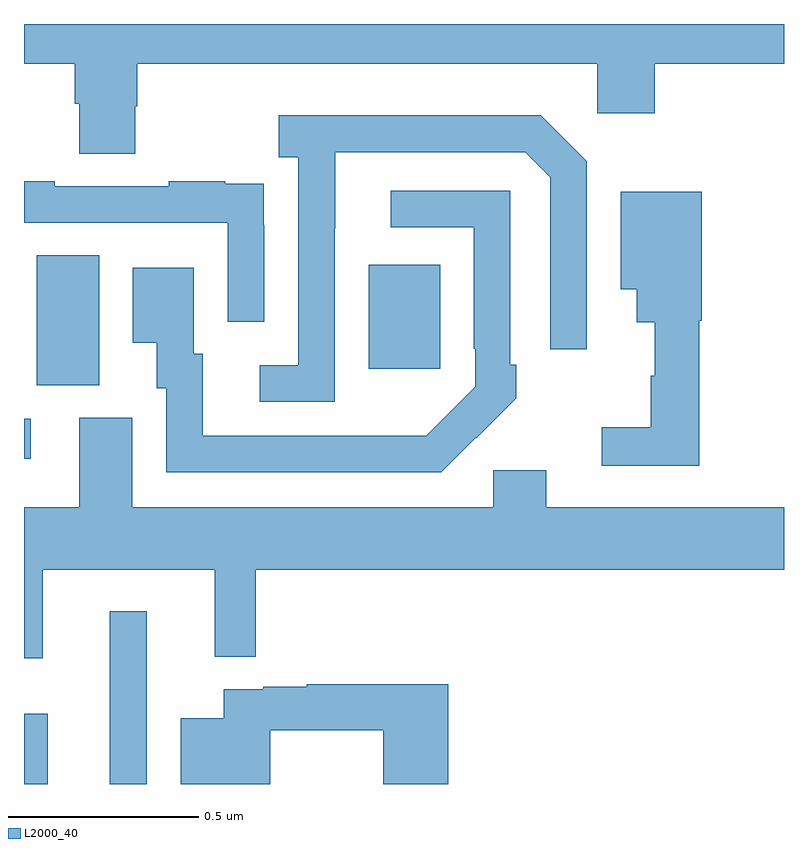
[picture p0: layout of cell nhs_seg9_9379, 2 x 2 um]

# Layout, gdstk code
import gdstk
lib = gdstk.Library(unit=1e-6, precision=1e-09)
def R(c, l, rs):  # rectangles x0, y0, x1, y1
    for r in rs: c.add(gdstk.rectangle(r[:2], r[2:], *l))
def P(c, l, *ps):  # polygons
    for p in ps: c.add(gdstk.Polygon(p, *l))
L2000_40 = (2000, 40)

nhs_seg9_9379 = lib.new_cell('nhs_seg9_9379')
R(nhs_seg9_9379, L2000_40, [(229,1218.5,229.063,1218.685), (229.226,1218.5,229.323,1218.955), (229,1219.356,229.018,1219.461), (229.034,1219.549,229.198,1219.892), (229.907,1219.593,230.095,1219.867)])
P(nhs_seg9_9379, L2000_40, [(229.293,1220.283),(229.298,1220.283),(229.298,1220.396),(230.508,1220.396),(230.508,1220.265),(230.66,1220.265),(230.66,1220.396),(231,1220.396),(231,1220.5),(229,1220.5),(229,1220.396),(229.133,1220.396),(229.133,1220.29),(229.145,1220.29),(229.145,1220.158),(229.293,1220.158)],
  [(229.818,1219.963),(229.819,1219.963),(229.819,1220.163),(230.319,1220.163),(230.385,1220.097),(230.385,1219.644),(230.481,1219.644),(230.481,1220.139),(230.36,1220.26),(229.671,1220.26),(229.671,1220.15),(229.722,1220.15),(229.722,1219.602),(229.62,1219.602),(229.62,1219.506),(229.818,1219.506)],
  [(229.632,1219.97),(229.631,1219.97),(229.631,1220.079),(229.529,1220.079),(229.529,1220.086),(229.381,1220.086),(229.381,1220.073),(229.081,1220.073),(229.081,1220.086),(229,1220.086),(229,1219.977),(229.536,1219.977),(229.536,1219.716),(229.632,1219.716)],
  [(230.189,1219.411),(230.19,1219.41),(230.295,1219.515),(230.295,1219.603),(230.28,1219.603),(230.28,1220.061),(229.965,1220.061),(229.965,1219.965),(230.184,1219.965),(230.184,1219.645),(230.187,1219.645),(230.187,1219.545),(230.059,1219.417),(229.955,1219.417),(229.955,1219.416),(229.471,1219.416),(229.471,1219.632),(229.447,1219.632),(229.447,1219.858),(229.286,1219.858),(229.286,1219.661),(229.349,1219.661),(229.349,1219.542),(229.374,1219.542),(229.374,1219.32),(230.098,1219.32)],
  [(230.777,1219.719),(230.783,1219.719),(230.783,1220.059),(230.57,1220.059),(230.57,1219.802),(230.612,1219.802),(230.612,1219.715),(230.66,1219.715),(230.66,1219.575),(230.649,1219.575),(230.649,1219.439),(230.52,1219.439),(230.52,1219.338),(230.777,1219.338)],
  [(229.049,1219.064),(229.502,1219.064),(229.502,1218.835),(229.61,1218.835),(229.61,1219.064),(231,1219.064),(231,1219.228),(230.374,1219.228),(230.374,1219.326),(230.235,1219.326),(230.235,1219.228),(229.285,1219.228),(229.285,1219.464),(229.145,1219.464),(229.145,1219.228),(229,1219.228),(229,1218.831),(229.049,1218.831)],
  [(229.648,1218.642),(229.946,1218.642),(229.946,1218.5),(230.117,1218.5),(230.117,1218.763),(229.744,1218.763),(229.744,1218.756),(229.63,1218.756),(229.63,1218.75),(229.526,1218.75),(229.526,1218.673),(229.412,1218.673),(229.412,1218.5),(229.648,1218.5)])

lib.write_gds('nhs_seg9_9379.gds')
